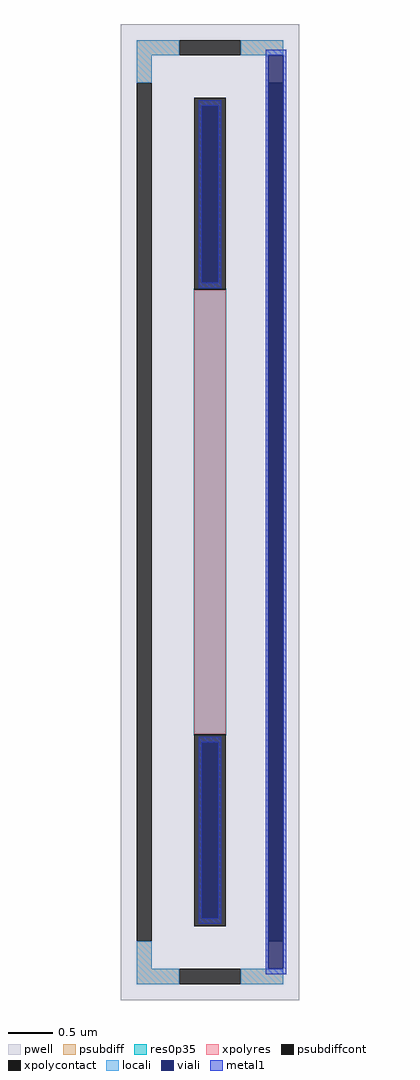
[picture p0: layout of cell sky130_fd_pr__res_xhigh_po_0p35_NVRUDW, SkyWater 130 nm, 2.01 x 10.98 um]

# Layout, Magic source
magic
tech sky130B
<< pwell >>
rect -101 -549 100 549
<< psubdiff >>
rect -83 514 -35 531
rect 34 514 82 531
rect -83 483 -66 514
rect 65 483 82 514
rect -83 -514 -66 -483
rect 65 -514 82 -483
rect -83 -531 -35 -514
rect 34 -531 82 -514
<< psubdiffcont >>
rect -35 514 34 531
rect -83 -483 -66 483
rect 65 -483 82 483
rect -35 -531 34 -514
<< xpolycontact >>
rect -18 250 17 466
rect -18 -466 17 -250
<< xpolyres >>
rect -18 -250 17 250
<< locali >>
rect -83 514 -35 531
rect 34 514 82 531
rect -83 483 -66 514
rect -83 -514 -66 -483
rect -83 -531 -35 -514
rect 34 -531 82 -514
<< viali >>
rect 65 483 82 514
rect -10 258 9 457
rect -10 -457 9 -259
rect 65 -483 82 483
rect 65 -514 82 -483
<< metal1 >>
rect 62 514 85 520
rect -13 457 12 463
rect -13 258 -10 457
rect 9 258 12 457
rect -13 252 12 258
rect -13 -259 12 -253
rect -13 -457 -10 -259
rect 9 -457 12 -259
rect -13 -463 12 -457
rect 62 -514 65 514
rect 82 -514 85 514
rect 62 -520 85 -514
<< res0p35 >>
rect -19 -251 18 251
<< properties >>
string FIXED_BBOX -37 -262 37 261
string gencell sky130_fd_pr__res_xhigh_po_0p35
string library sky130
string parameters w 0.350 l 5.0 m 1 nx 1 wmin 0.350 lmin 0.50 rho 2000 val 28.681k dummy 0 dw 0.0 term 19.188 sterm 0.0 caplen 0 wmax 0.350 guard 1 glc 1 grc 1 gtc 1 gbc 1 compatible {sky130_fd_pr__res_xhigh_po_0p35  sky130_fd_pr__res_xhigh_po_0p69 sky130_fd_pr__res_xhigh_po_1p41  sky130_fd_pr__res_xhigh_po_2p85 sky130_fd_pr__res_xhigh_po_5p73} full_metal 1 n_guard 0 hv_guard 0 vias 1 viagb 0 viagt 0 viagl 0 viagr 100
<< end >>
